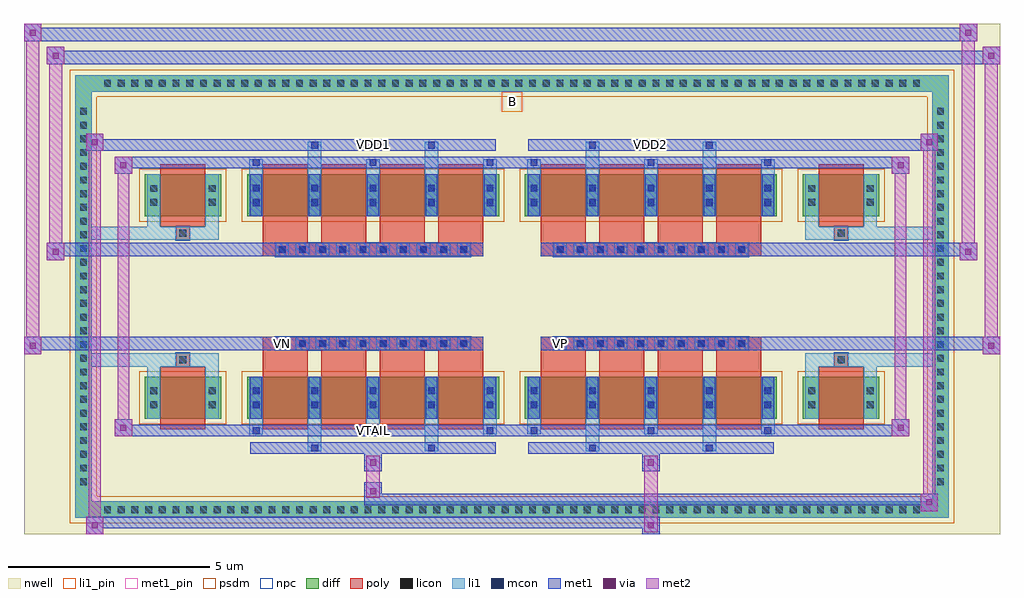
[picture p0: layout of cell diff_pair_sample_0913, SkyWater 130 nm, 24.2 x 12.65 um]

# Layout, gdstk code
import gdstk
lib = gdstk.Library(unit=1e-6, precision=5e-09)
def R(c, l, rs):  # rectangles x0, y0, x1, y1
    for r in rs: c.add(gdstk.rectangle(r[:2], r[2:], *l))
def A(c, l, x, y, w, h, nx, ny, dx, dy):  # array of equal rectangles
    R(c, l, [(x+i*dx, y+j*dy, x+i*dx+w, y+j*dy+h) for i in range(nx) for j in range(ny)])
def P(c, l, *ps):  # polygons
    for p in ps: c.add(gdstk.Polygon(p, *l))
nwell = (64, 20)
diff = (65, 20)
poly = (66, 20)
licon = (66, 44)
li1_pin = (67, 16)
li1 = (67, 20)
mcon = (67, 44)
met1_pin = (68, 16)
met1 = (68, 20)
via = (68, 44)
met2 = (69, 20)
psdm = (94, 20)
npc = (95, 20)

diff_pair_sample_0913 = lib.new_cell('diff_pair_sample_0913')
R(diff_pair_sample_0913, nwell, [(-12.1,-5.89,12.1,6.76), (-9.42,-4.08,-0.01,-0.8), (0.01,-4.08,9.42,-0.8), (-9.42,0.8,-0.01,4.08), (0.01,0.8,9.42,4.08)])
A(diff_pair_sample_0913, diff, -10.235, -5.49, 0.41, 0.41, 60, 2, 0.34, 10.57)
A(diff_pair_sample_0913, diff, -10.83, -4.795, 0.41, 0.41, 1, 28, 0, 0.34)
A(diff_pair_sample_0913, diff, 10.42, -4.795, 0.41, 0.41, 1, 28, 0, 0.34)
R(diff_pair_sample_0913, diff, [(-10.235,-5.49,10.235,-5.08), (-10.83,-4.795,-10.42,4.795), (10.42,-4.795,10.83,4.795), (-9.11,-3.035,-7.21,-1.985), (-6.57,-3.035,-0.32,-1.985), (0.32,-3.035,6.57,-1.985), (7.21,-3.035,9.11,-1.985), (-9.11,1.985,-7.21,3.035), (-6.57,1.985,-0.32,3.035), (0.32,1.985,6.57,3.035), (7.21,1.985,9.11,3.035), (-10.235,5.08,10.235,5.49)])
P(diff_pair_sample_0913, diff, [(10.83,5.49),(-10.83,5.49),(-10.83,-5.08),(-10.42,-5.08),(-10.42,5.08),(10.42,5.08),(10.42,-5.08),(-10.42,-5.08),(-10.83,-5.08),(-10.83,-5.49),(10.83,-5.49)])
A(diff_pair_sample_0913, poly, -6.18, -3.285, 1.12, 1.55, 4, 2, 1.45, 5.02)
A(diff_pair_sample_0913, poly, 0.71, -3.285, 1.12, 1.55, 4, 2, 1.45, 5.02)
A(diff_pair_sample_0913, poly, -6.18, -1.735, 1.12, 0.405, 4, 2, 1.45, 3.065)
A(diff_pair_sample_0913, poly, 0.71, -1.735, 1.12, 0.405, 4, 2, 1.45, 3.065)
A(diff_pair_sample_0913, poly, -5.86, -1.33, 0.33, 0.33, 10, 2, 0.5, 2.33)
A(diff_pair_sample_0913, poly, 1.03, -1.33, 0.33, 0.33, 10, 2, 0.5, 2.33)
R(diff_pair_sample_0913, poly, [(-8.72,-3.285,-7.6,-1.735), (7.6,-3.285,8.72,-1.735), (-8.325,-1.735,-7.995,-1.405), (-8.325,-1.735,-7.995,-1.405), (7.995,-1.735,8.325,-1.405), (7.995,-1.735,8.325,-1.405), (-6.18,-1.33,-0.71,-1), (0.71,-1.33,6.18,-1), (-6.18,1,-0.71,1.33), (0.71,1,6.18,1.33), (-8.325,1.405,-7.995,1.735), (-8.325,1.405,-7.995,1.735), (7.995,1.405,8.325,1.735), (7.995,1.405,8.325,1.735), (-8.72,1.735,-7.6,3.285), (7.6,1.735,8.72,3.285)])
A(diff_pair_sample_0913, licon, -10.115, -5.37, 0.17, 0.17, 60, 2, 0.34, 10.57)
A(diff_pair_sample_0913, licon, -10.71, -4.675, 0.17, 0.17, 1, 28, 0, 0.34)
A(diff_pair_sample_0913, licon, 10.54, -4.675, 0.17, 0.17, 1, 28, 0, 0.34)
A(diff_pair_sample_0913, licon, -6.43, -2.765, 0.17, 0.17, 5, 2, 1.45, 0.34)
A(diff_pair_sample_0913, licon, 0.46, -2.765, 0.17, 0.17, 5, 2, 1.45, 0.34)
A(diff_pair_sample_0913, licon, -5.78, -1.25, 0.17, 0.17, 10, 2, 0.5, 2.33)
A(diff_pair_sample_0913, licon, 1.11, -1.25, 0.17, 0.17, 10, 2, 0.5, 2.33)
A(diff_pair_sample_0913, licon, -6.43, 2.255, 0.17, 0.17, 5, 2, 1.45, 0.34)
A(diff_pair_sample_0913, licon, 0.46, 2.255, 0.17, 0.17, 5, 2, 1.45, 0.34)
R(diff_pair_sample_0913, licon, [(-8.97,-2.765,-8.8,-2.595), (-7.52,-2.765,-7.35,-2.595), (7.35,-2.765,7.52,-2.595), (8.8,-2.765,8.97,-2.595), (-8.97,-2.425,-8.8,-2.255), (-7.52,-2.425,-7.35,-2.255), (7.35,-2.425,7.52,-2.255), (8.8,-2.425,8.97,-2.255), (-8.245,-1.655,-8.075,-1.485), (8.075,-1.655,8.245,-1.485), (-8.245,1.485,-8.075,1.655), (8.075,1.485,8.245,1.655), (-8.97,2.255,-8.8,2.425), (-7.52,2.255,-7.35,2.425), (7.35,2.255,7.52,2.425), (8.8,2.255,8.97,2.425), (-8.97,2.595,-8.8,2.765), (-7.52,2.595,-7.35,2.765), (7.35,2.595,7.52,2.765), (8.8,2.595,8.97,2.765)])
R(diff_pair_sample_0913, li1_pin, [(-0.25,4.58,0.25,5.08)])
A(diff_pair_sample_0913, li1, -10.195, -5.45, 0.33, 0.33, 60, 2, 0.34, 10.57)
A(diff_pair_sample_0913, li1, -10.79, -4.755, 0.33, 0.33, 1, 28, 0, 0.34)
A(diff_pair_sample_0913, li1, 10.46, -4.755, 0.33, 0.33, 1, 28, 0, 0.34)
A(diff_pair_sample_0913, li1, -6.51, -3.41, 0.33, 0.375, 3, 2, 2.9, 6.445)
A(diff_pair_sample_0913, li1, -6.43, -3.41, 0.17, 0.17, 3, 2, 2.9, 6.65)
A(diff_pair_sample_0913, li1, 0.38, -3.41, 0.33, 0.375, 3, 2, 2.9, 6.445)
A(diff_pair_sample_0913, li1, 0.46, -3.41, 0.17, 0.17, 3, 2, 2.9, 6.65)
A(diff_pair_sample_0913, li1, -6.51, -3.035, 0.33, 1.05, 5, 2, 1.45, 5.02)
A(diff_pair_sample_0913, li1, 0.38, -3.035, 0.33, 1.05, 5, 2, 1.45, 5.02)
A(diff_pair_sample_0913, li1, -6.51, -2.845, 0.33, 0.33, 5, 2, 1.45, 0.34)
A(diff_pair_sample_0913, li1, 0.38, -2.845, 0.33, 0.33, 5, 2, 1.45, 0.34)
A(diff_pair_sample_0913, li1, -6.43, -2.775, 0.17, 0.17, 5, 2, 1.45, 0.36)
A(diff_pair_sample_0913, li1, -6.43, -2.775, 0.17, 0.53, 5, 2, 1.45, 5.02)
A(diff_pair_sample_0913, li1, 0.46, -2.775, 0.17, 0.17, 5, 2, 1.45, 0.36)
A(diff_pair_sample_0913, li1, 0.46, -2.775, 0.17, 0.53, 5, 2, 1.45, 5.02)
A(diff_pair_sample_0913, li1, -5.86, -1.33, 0.33, 0.33, 10, 2, 0.5, 2.33)
A(diff_pair_sample_0913, li1, 1.03, -1.33, 0.33, 0.33, 10, 2, 0.5, 2.33)
A(diff_pair_sample_0913, li1, -6.51, 2.175, 0.33, 0.33, 5, 2, 1.45, 0.34)
A(diff_pair_sample_0913, li1, 0.38, 2.175, 0.33, 0.33, 5, 2, 1.45, 0.34)
A(diff_pair_sample_0913, li1, -6.43, 2.245, 0.17, 0.17, 5, 2, 1.45, 0.36)
A(diff_pair_sample_0913, li1, 0.46, 2.245, 0.17, 0.17, 5, 2, 1.45, 0.36)
R(diff_pair_sample_0913, li1, [(-10.83,-5.49,-10.42,-5.08), (-10.83,-5.49,-10.42,-5.08), (-10.42,-5.49,10.42,-5.08), (10.42,-5.49,10.83,-5.08), (10.42,-5.49,10.83,-5.08), (-10.83,-5.08,-10.42,5.08), (10.42,-5.08,10.83,5.08), (-5.06,-3.84,-4.73,-3.035), (-4.98,-3.84,-4.81,-3.67), (-2.16,-3.84,-1.83,-3.035), (-2.08,-3.84,-1.91,-3.67), (1.83,-3.84,2.16,-3.035), (1.91,-3.84,2.08,-3.67), (4.73,-3.84,5.06,-3.035), (4.81,-3.84,4.98,-3.67), (-9.05,-3.035,-8.72,-1.985), (-7.6,-3.035,-7.27,-1.985), (7.27,-3.035,7.6,-1.985), (8.72,-3.035,9.05,-1.985), (-9.05,-2.845,-8.72,-2.515), (-7.6,-2.845,-7.27,-2.515), (7.27,-2.845,7.6,-2.515), (8.72,-2.845,9.05,-2.515), (-9.05,-2.505,-8.72,-2.175), (-7.6,-2.505,-7.27,-2.175), (7.27,-2.505,7.6,-2.175), (8.72,-2.505,9.05,-2.175), (-9.05,-1.985,-8.72,-1.405), (-7.6,-1.985,-7.27,-1.405), (7.27,-1.985,7.6,-1.405), (8.72,-1.985,9.05,-1.405), (-10.83,-1.735,-8.325,-1.405), (-9.05,-1.735,-8.325,-1.405), (-8.325,-1.735,-7.995,-1.405), (-7.995,-1.735,-7.27,-1.405), (7.27,-1.735,7.995,-1.405), (7.995,-1.735,8.325,-1.405), (7.995,-1.735,10.83,-1.405), (8.325,-1.735,9.05,-1.405), (-10.83,1.405,-8.325,1.735), (-9.05,1.405,-8.325,1.735), (-9.05,1.405,-8.72,1.985), (-8.325,1.405,-7.995,1.735), (-7.995,1.405,-7.27,1.735), (-7.6,1.405,-7.27,1.985), (7.27,1.405,7.995,1.735), (7.27,1.405,7.6,1.985), (7.995,1.405,8.325,1.735), (7.995,1.405,10.83,1.735), (8.325,1.405,9.05,1.735), (8.72,1.405,9.05,1.985), (-9.05,1.985,-8.72,3.035), (-7.6,1.985,-7.27,3.035), (7.27,1.985,7.6,3.035), (8.72,1.985,9.05,3.035), (-9.05,2.175,-8.72,2.505), (-7.6,2.175,-7.27,2.505), (7.27,2.175,7.6,2.505), (8.72,2.175,9.05,2.505), (-9.05,2.515,-8.72,2.845), (-7.6,2.515,-7.27,2.845), (7.27,2.515,7.6,2.845), (8.72,2.515,9.05,2.845), (-5.06,3.035,-4.73,3.84), (-2.16,3.035,-1.83,3.84), (1.83,3.035,2.16,3.84), (4.73,3.035,5.06,3.84), (-4.98,3.67,-4.81,3.84), (-2.08,3.67,-1.91,3.84), (1.91,3.67,2.08,3.84), (4.81,3.67,4.98,3.84), (-10.83,5.08,-10.42,5.49), (-10.83,5.08,-10.42,5.49), (-10.42,5.08,10.42,5.49), (10.42,5.08,10.83,5.49), (10.42,5.08,10.83,5.49)])
A(diff_pair_sample_0913, mcon, -6.43, -3.41, 0.17, 0.17, 3, 2, 2.9, 6.65)
A(diff_pair_sample_0913, mcon, 0.46, -3.41, 0.17, 0.17, 3, 2, 2.9, 6.65)
A(diff_pair_sample_0913, mcon, -6.43, -2.775, 0.17, 0.17, 5, 2, 1.45, 0.36)
A(diff_pair_sample_0913, mcon, 0.46, -2.775, 0.17, 0.17, 5, 2, 1.45, 0.36)
A(diff_pair_sample_0913, mcon, -5.78, -1.25, 0.17, 0.17, 10, 2, 0.5, 2.33)
A(diff_pair_sample_0913, mcon, 1.11, -1.25, 0.17, 0.17, 10, 2, 0.5, 2.33)
A(diff_pair_sample_0913, mcon, -6.43, 2.245, 0.17, 0.17, 5, 2, 1.45, 0.36)
A(diff_pair_sample_0913, mcon, 0.46, 2.245, 0.17, 0.17, 5, 2, 1.45, 0.36)
R(diff_pair_sample_0913, mcon, [(-4.98,-3.84,-4.81,-3.67), (-2.08,-3.84,-1.91,-3.67), (1.91,-3.84,2.08,-3.67), (4.81,-3.84,4.98,-3.67), (-4.98,3.67,-4.81,3.84), (-2.08,3.67,-1.91,3.84), (1.91,3.67,2.08,3.84), (4.81,3.67,4.98,3.84)])
R(diff_pair_sample_0913, met1_pin, [(-3.58,-3.45,-3.31,-3.18), (-5.83,-1.29,-5.56,-1.02), (1.06,-1.29,1.33,-1.02), (-3.58,3.63,-3.31,3.9), (3.31,3.63,3.58,3.9)])
A(diff_pair_sample_0913, met1, -6.49, -3.47, 0.29, 0.29, 3, 2, 2.9, 6.65)
A(diff_pair_sample_0913, met1, 0.4, -3.47, 0.29, 0.29, 3, 2, 2.9, 6.65)
A(diff_pair_sample_0913, met1, -6.49, -3.035, 0.29, 1.05, 5, 2, 1.45, 5.02)
A(diff_pair_sample_0913, met1, 0.4, -3.035, 0.29, 1.05, 5, 2, 1.45, 5.02)
A(diff_pair_sample_0913, met1, -6.49, -2.835, 0.29, 0.29, 5, 2, 1.45, 0.36)
A(diff_pair_sample_0913, met1, 0.4, -2.835, 0.29, 0.29, 5, 2, 1.45, 0.36)
A(diff_pair_sample_0913, met1, -5.84, -1.31, 0.29, 0.29, 10, 2, 0.5, 2.33)
A(diff_pair_sample_0913, met1, 1.05, -1.31, 0.29, 0.29, 10, 2, 0.5, 2.33)
A(diff_pair_sample_0913, met1, -6.49, 2.185, 0.29, 0.29, 5, 2, 1.45, 0.36)
A(diff_pair_sample_0913, met1, 0.4, 2.185, 0.29, 0.29, 5, 2, 1.45, 0.36)
R(diff_pair_sample_0913, met1, [(-10.56,-5.89,-10.13,-5.46), (3.23,-5.89,3.66,-5.46), (-10.56,-5.75,3.66,-5.46), (10.13,-5.32,10.56,-4.89), (-3.66,-5.18,10.56,-4.89), (-3.66,-5.04,-3.23,-4.61), (-3.66,-4.33,-3.23,-3.9), (3.23,-4.33,3.66,-3.9), (-6.49,-3.9,-0.4,-3.61), (-5.04,-3.9,-4.75,-3.61), (-2.14,-3.9,-1.85,-3.61), (0.4,-3.9,6.49,-3.61), (1.85,-3.9,2.14,-3.61), (4.75,-3.9,5.04,-3.61), (-9.85,-3.47,-9.42,-3.04), (-9.85,-3.47,-6.49,-3.18), (-6.49,-3.47,-0.4,-3.18), (-0.4,-3.47,0.4,-3.18), (0.4,-3.47,6.49,-3.18), (6.49,-3.47,9.85,-3.18), (9.42,-3.47,9.85,-3.04), (-12.1,-1.43,-11.67,-1), (11.67,-1.43,12.1,-1), (-12.1,-1.33,-0.71,-1), (-6.18,-1.33,-0.71,-1), (0.71,-1.33,6.18,-1), (0.71,-1.33,12.1,-1), (-11.53,0.9,-11.1,1.33), (11.1,0.9,11.53,1.33), (-11.53,1,-6.18,1.33), (-6.18,1,-0.71,1.33), (0.71,1,6.18,1.33), (6.18,1,11.53,1.33), (-9.85,3.04,-9.42,3.47), (9.42,3.04,9.85,3.47), (-9.85,3.18,-6.49,3.47), (-6.49,3.18,-0.4,3.47), (-0.4,3.18,0.4,3.47), (0.4,3.18,6.49,3.47), (6.49,3.18,9.85,3.47), (-10.56,3.61,-10.13,4.04), (-10.56,3.61,-6.49,3.9), (-6.49,3.61,-0.4,3.9), (-5.04,3.61,-4.75,3.9), (-2.14,3.61,-1.85,3.9), (0.4,3.61,6.49,3.9), (1.85,3.61,2.14,3.9), (4.75,3.61,5.04,3.9), (6.49,3.61,10.56,3.9), (10.13,3.61,10.56,4.04), (-11.53,5.76,-11.1,6.19), (-11.53,5.76,-9.42,6.09), (-9.42,5.76,9.42,6.09), (9.42,5.76,12.1,6.09), (11.67,5.76,12.1,6.19), (-12.1,6.33,-11.67,6.76), (-12.1,6.33,-9.42,6.66), (-9.42,6.33,9.42,6.66), (9.42,6.33,11.53,6.66), (11.1,6.33,11.53,6.76)])
R(diff_pair_sample_0913, via, [(-10.42,-5.75,-10.27,-5.6), (3.37,-5.75,3.52,-5.6), (10.27,-5.18,10.42,-5.03), (-3.52,-4.9,-3.37,-4.75), (-3.52,-4.19,-3.37,-4.04), (3.37,-4.19,3.52,-4.04), (-9.71,-3.33,-9.56,-3.18), (9.56,-3.33,9.71,-3.18), (-11.96,-1.29,-11.81,-1.14), (11.81,-1.29,11.96,-1.14), (-11.39,1.04,-11.24,1.19), (11.24,1.04,11.39,1.19), (-9.71,3.18,-9.56,3.33), (9.56,3.18,9.71,3.33), (-10.42,3.75,-10.27,3.9), (10.27,3.75,10.42,3.9), (-11.39,5.9,-11.24,6.05), (11.81,5.9,11.96,6.05), (-11.96,6.47,-11.81,6.62), (11.24,6.47,11.39,6.62)])
R(diff_pair_sample_0913, met2, [(-10.56,-5.89,-10.13,-5.46), (-10.49,-5.89,-10.2,4.04), (-10.2,-5.89,-10.13,-5.46), (-10.51,-5.84,-10.18,-5.51), (3.28,-5.84,3.61,-5.51), (3.28,-5.51,3.61,-4.28), (10.13,-5.32,10.56,-4.89), (10.2,-5.32,10.49,4.04), (10.49,-5.32,10.56,-4.89), (10.18,-5.27,10.51,-4.94), (-3.61,-4.99,-3.28,-4.66), (-3.61,-4.66,-3.28,-4.28), (-3.61,-4.28,-3.28,-3.95), (3.28,-4.28,3.61,-3.95), (-9.85,-3.47,-9.42,-3.04), (-9.78,-3.47,-9.49,3.47), (-9.49,-3.47,-9.42,-3.04), (9.42,-3.47,9.85,-3.04), (9.49,-3.47,9.78,3.47), (9.78,-3.47,9.85,-3.04), (-9.8,-3.42,-9.47,-3.09), (9.47,-3.42,9.8,-3.09), (-12.1,-1.43,-11.67,-1), (-12.05,-1.43,-11.72,6.76), (-11.72,-1.43,-11.67,-1), (11.67,-1.43,12.1,-1), (11.72,-1.43,12.05,6.19), (12.05,-1.43,12.1,-1), (-12.05,-1.38,-11.72,-1.05), (11.72,-1.38,12.05,-1.05), (-11.53,0.9,-11.1,1.33), (-11.48,0.9,-11.15,6.19), (-11.15,0.9,-11.1,1.33), (11.1,0.9,11.53,1.33), (11.15,0.9,11.48,6.76), (11.48,0.9,11.53,1.33), (-11.48,0.95,-11.15,1.28), (11.15,0.95,11.48,1.28), (-9.85,3.04,-9.42,3.47), (-9.49,3.04,-9.42,3.47), (9.42,3.04,9.85,3.47), (9.78,3.04,9.85,3.47), (-9.8,3.09,-9.47,3.42), (9.47,3.09,9.8,3.42), (-10.56,3.61,-10.13,4.04), (-10.2,3.61,-10.13,4.04), (10.13,3.61,10.56,4.04), (10.49,3.61,10.56,4.04), (-10.51,3.66,-10.18,3.99), (10.18,3.66,10.51,3.99), (-11.53,5.76,-11.1,6.19), (-11.15,5.76,-11.1,6.19), (11.67,5.76,12.1,6.19), (12.05,5.76,12.1,6.19), (-11.48,5.81,-11.15,6.14), (11.72,5.81,12.05,6.14), (-12.1,6.33,-11.67,6.76), (-11.72,6.33,-11.67,6.76), (11.1,6.33,11.53,6.76), (11.48,6.33,11.53,6.76), (-12.05,6.38,-11.72,6.71), (11.15,6.38,11.48,6.71)])
R(diff_pair_sample_0913, psdm, [(-9.24,-3.165,-7.08,-1.855), (-6.7,-3.165,-0.19,-1.855), (0.19,-3.165,6.7,-1.855), (7.08,-3.165,9.24,-1.855), (-9.24,1.855,-7.08,3.165), (-6.7,1.855,-0.19,3.165), (0.19,1.855,6.7,3.165), (7.08,1.855,9.24,3.165)])
P(diff_pair_sample_0913, psdm, [(10.96,5.62),(-10.96,5.62),(-10.96,-4.95),(-10.29,-4.95),(-10.29,4.95),(10.29,4.95),(10.29,-4.95),(-10.29,-4.95),(-10.96,-4.95),(-10.96,-5.62),(10.96,-5.62)])
A(diff_pair_sample_0913, npc, -5.88, -1.35, 0.37, 0.37, 10, 2, 0.5, 2.33)
A(diff_pair_sample_0913, npc, 1.01, -1.35, 0.37, 0.37, 10, 2, 0.5, 2.33)
R(diff_pair_sample_0913, npc, [(-8.345,-1.755,-7.975,-1.385), (7.975,-1.755,8.345,-1.385), (-5.88,-1.35,-5.01,-0.98), (-5.88,-1.35,-5.01,-0.98), (-5.38,-1.35,-4.51,-0.98), (-5.38,-1.35,-4.51,-0.98), (-4.88,-1.35,-4.01,-0.98), (-4.88,-1.35,-4.01,-0.98), (-4.38,-1.35,-3.51,-0.98), (-4.38,-1.35,-3.51,-0.98), (-3.88,-1.35,-3.01,-0.98), (-3.88,-1.35,-3.01,-0.98), (-3.38,-1.35,-2.51,-0.98), (-3.38,-1.35,-2.51,-0.98), (-2.88,-1.35,-2.01,-0.98), (-2.88,-1.35,-2.01,-0.98), (-2.38,-1.35,-1.51,-0.98), (-2.38,-1.35,-1.51,-0.98), (-1.88,-1.35,-1.01,-0.98), (-1.88,-1.35,-1.01,-0.98), (1.01,-1.35,1.88,-0.98), (1.01,-1.35,1.88,-0.98), (1.51,-1.35,2.38,-0.98), (1.51,-1.35,2.38,-0.98), (2.01,-1.35,2.88,-0.98), (2.01,-1.35,2.88,-0.98), (2.51,-1.35,3.38,-0.98), (2.51,-1.35,3.38,-0.98), (3.01,-1.35,3.88,-0.98), (3.01,-1.35,3.88,-0.98), (3.51,-1.35,4.38,-0.98), (3.51,-1.35,4.38,-0.98), (4.01,-1.35,4.88,-0.98), (4.01,-1.35,4.88,-0.98), (4.51,-1.35,5.38,-0.98), (4.51,-1.35,5.38,-0.98), (5.01,-1.35,5.88,-0.98), (5.01,-1.35,5.88,-0.98), (-5.88,0.98,-5.01,1.35), (-5.88,0.98,-5.01,1.35), (-5.38,0.98,-4.51,1.35), (-5.38,0.98,-4.51,1.35), (-4.88,0.98,-4.01,1.35), (-4.88,0.98,-4.01,1.35), (-4.38,0.98,-3.51,1.35), (-4.38,0.98,-3.51,1.35), (-3.88,0.98,-3.01,1.35), (-3.88,0.98,-3.01,1.35), (-3.38,0.98,-2.51,1.35), (-3.38,0.98,-2.51,1.35), (-2.88,0.98,-2.01,1.35), (-2.88,0.98,-2.01,1.35), (-2.38,0.98,-1.51,1.35), (-2.38,0.98,-1.51,1.35), (-1.88,0.98,-1.01,1.35), (-1.88,0.98,-1.01,1.35), (1.01,0.98,1.88,1.35), (1.01,0.98,1.88,1.35), (1.51,0.98,2.38,1.35), (1.51,0.98,2.38,1.35), (2.01,0.98,2.88,1.35), (2.01,0.98,2.88,1.35), (2.51,0.98,3.38,1.35), (2.51,0.98,3.38,1.35), (3.01,0.98,3.88,1.35), (3.01,0.98,3.88,1.35), (3.51,0.98,4.38,1.35), (3.51,0.98,4.38,1.35), (4.01,0.98,4.88,1.35), (4.01,0.98,4.88,1.35), (4.51,0.98,5.38,1.35), (4.51,0.98,5.38,1.35), (5.01,0.98,5.88,1.35), (5.01,0.98,5.88,1.35), (-8.345,1.385,-7.975,1.755), (7.975,1.385,8.345,1.755)])
diff_pair_sample_0913.add(gdstk.Label('VTAIL', (-3.445,-3.315), layer=68, texttype=5))
diff_pair_sample_0913.add(gdstk.Label('VN', (-5.695,-1.155), layer=68, texttype=5))
diff_pair_sample_0913.add(gdstk.Label('VP', (1.195,-1.155), layer=68, texttype=5))
diff_pair_sample_0913.add(gdstk.Label('B', (0,4.83), layer=67, texttype=5))
diff_pair_sample_0913.add(gdstk.Label('VDD2', (3.445,3.765), layer=68, texttype=5))
diff_pair_sample_0913.add(gdstk.Label('VDD1', (-3.445,3.765), layer=68, texttype=5))

lib.write_gds('diff_pair_sample_0913.gds')
